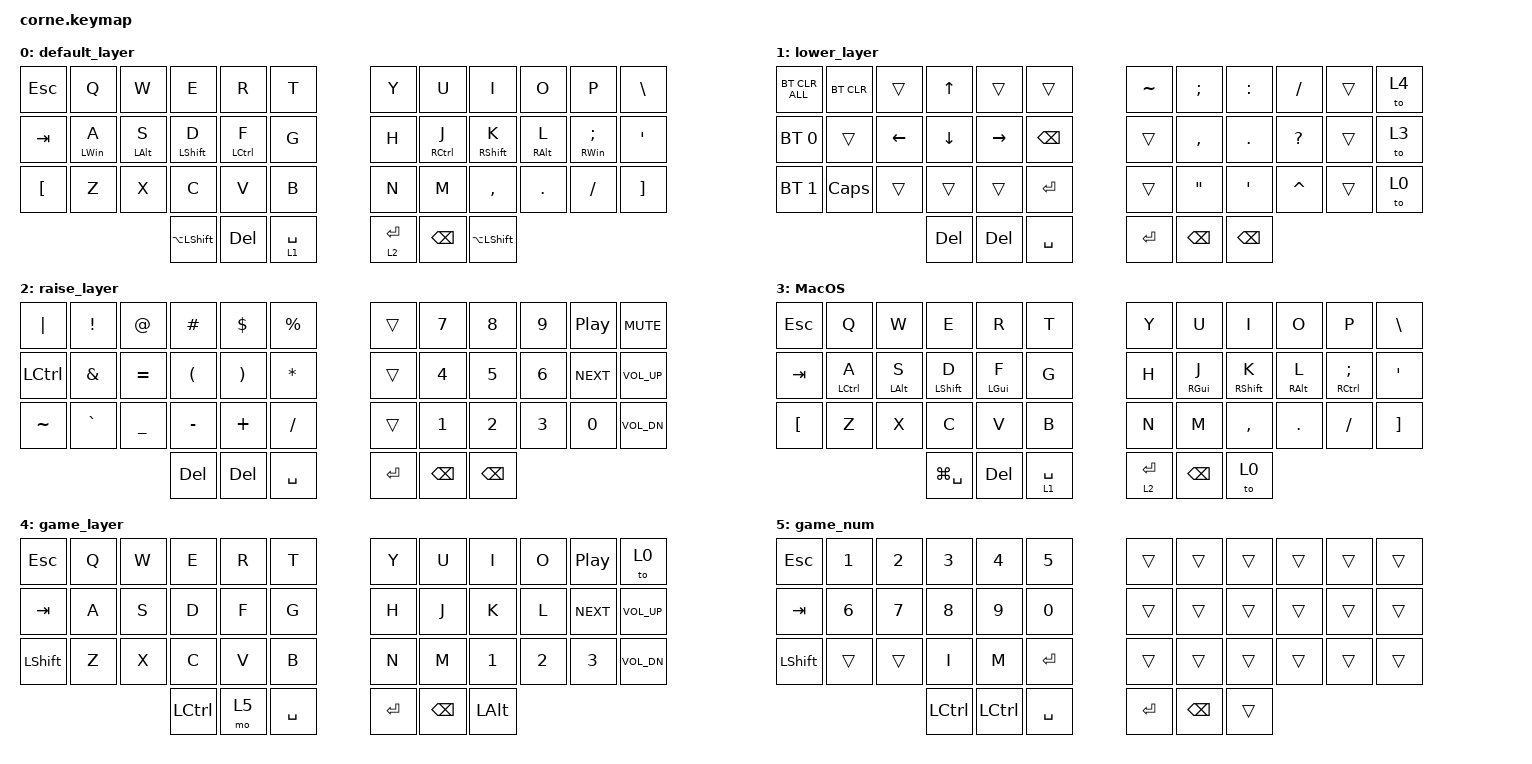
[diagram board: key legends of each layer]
/*
 * Copyright (c) 2020 The ZMK Contributors
 *
 * SPDX-License-Identifier: MIT
 */

#include <behaviors.dtsi>
#include <dt-bindings/zmk/bt.h>
#include <dt-bindings/zmk/keys.h>

/ {
    combos {
        compatible = "zmk,combos";

        combo_esc {
            timeout-ms = <50>;
            key-positions = <0 1>;
            bindings = <&kp ESC>;
        };
    };

    behaviors {
        ss_hs_modmorph: ss_hs_modmorph {
            compatible = "zmk,behavior-mod-morph";
            label = "SS_HS_MODMORPH";
            bindings = <&kp M>, <&kp RIGHT_BRACKET>;

            #binding-cells = <0>;
            mods = <(MOD_LSFT|MOD_RSFT)>;
        };

        kh_hs_tapdance: kh_hs_tapdance {
            compatible = "zmk,behavior-tap-dance";
            label = "KH_HS_TAPDANCE";
            #binding-cells = <0>;
            tapping-term-ms = <200>;
            bindings = <&kp LEFT_BRACKET>, <&kp RIGHT_BRACKET>;
        };

        hrm: hrm {
            compatible = "zmk,behavior-hold-tap";
            #binding-cells = <2>;
            flavor = "tap-preferred";
            tapping-term-ms = <180>;
            quick-tap-ms = <180>;
            require-prior-idle-ms = <125>;
            bindings = <&kp>, <&kp>;
        };
    };

    macros {
        switch_language: switch_language {
            compatible = "zmk,behavior-macro";
            #binding-cells = <0>;
            bindings =
                <&kt LA(LEFT_SHIFT)>,
                <&macro_press>,
                <&kp LEFT_ALT>,
                <&macro_tap>,
                <&kp LEFT_SHIFT>,
                <&macro_press>;

            label = "SWITCH_LANGUAGE";
        };
    };

    keymap {
        compatible = "zmk,keymap";

        default_layer {
            // -----------------------------------------------------------------------------------------
            // |  TAB |  Q  |  W  |  E  |  R  |  T  |   |  Y  |  U   |  I  |  O  |  P  | BKSP |
            // | CTRL |  A  |  S  |  D  |  F  |  G  |   |  H  |  J   |  K  |  L  |  ;  |  '   |
            // | SHFT |  Z  |  X  |  C  |  V  |  B  |   |  N  |  M   |  ,  |  .  |  /  | ESC  |
            //                    | GUI | LWR | SPC |   | ENT | RSE  | ALT |

            bindings = <
&kp ESC           &kp Q            &kp W            &kp E               &kp R                &kp T          &kp Y        &kp U                 &kp I               &kp O             &kp P                &kp BACKSLASH
&kp TAB           &hrm LEFT_WIN A  &hrm LEFT_ALT S  &hrm LEFT_SHIFT D   &hrm LEFT_CONTROL F  &kp G          &kp H        &hrm RIGHT_CONTROL J  &hrm RIGHT_SHIFT K  &hrm RIGHT_ALT L  &hrm RIGHT_WIN SEMI  &kp SQT
&kp LEFT_BRACKET  &kp Z            &kp X            &kp C               &kp V                &kp B          &kp N        &kp M                 &kp COMMA           &kp DOT           &kp SLASH            &kp RIGHT_BRACKET
                                                    &kp LA(LEFT_SHIFT)  &kp DELETE           &lt 1 SPACE    &lt 2 ENTER  &kp BACKSPACE         &kp LA(LEFT_SHIFT)
            >;
        };

        lower_layer {
            // -----------------------------------------------------------------------------------------
            // |  TAB |  1  |  2  |  3  |  4  |  5  |   |  6  |  7  |  8  |  9  |  0  | BKSP |
            // | BTCLR| BT1 | BT2 | BT3 | BT4 | BT5 |   | LFT | DWN |  UP | RGT |     |      |
            // | SHFT |     |     |     |     |     |   |     |     |     |     |     |      |
            //                    | GUI |     | SPC |   | ENT |     | ALT |

            bindings = <
&bt BT_CLR_ALL  &bt BT_CLR    &trans          &kp UP_ARROW    &trans           &trans           &kp TILDE  &kp SEMICOLON      &kp COLON      &kp SLASH     &trans  &to 4
&bt BT_SEL 0    &trans        &kp LEFT_ARROW  &kp DOWN_ARROW  &kp RIGHT_ARROW  &kp BACKSPACE    &trans     &kp COMMA          &kp DOT        &kp QUESTION  &trans  &to 3
&bt BT_SEL 1    &kp CAPSLOCK  &trans          &trans          &trans           &kp ENTER        &trans     &kp DOUBLE_QUOTES  &kp SQT        &kp CARET     &trans  &to 0
                                              &kp DELETE      &kp DELETE       &kp SPACE        &kp ENTER  &kp BACKSPACE      &kp BACKSPACE
            >;
        };

        raise_layer {
            // -----------------------------------------------------------------------------------------
            // |  TAB |  !  |  @  |  #  |  $  |  %  |   |  ^  |  &  |  *  |  (  |  )  | BKSP |
            // | CTRL |     |     |     |     |     |   |  -  |  =  |  [  |  ]  |  \  |  `   |
            // | SHFT |     |     |     |     |     |   |  _  |  +  |  {  |  }  | "|" |  ~   |
            //                    | GUI |     | SPC |   | ENT |     | ALT |

            bindings = <
&kp PIPE   &kp EXCL   &kp AT     &kp HASH              &kp DLLR               &kp PRCNT    &trans   &kp NUMBER_7   &kp NUMBER_8   &kp NUMBER_9  &kp C_PLAY_PAUSE  &kp C_MUTE
&kp LCTRL  &kp AMPS   &kp EQUAL  &kp LEFT_PARENTHESIS  &kp RIGHT_PARENTHESIS  &kp STAR     &trans   &kp NUMBER_4   &kp NUMBER_5   &kp NUMBER_6  &kp C_NEXT        &kp C_VOL_UP
&kp TILDE  &kp GRAVE  &kp UNDER  &kp MINUS             &kp PLUS               &kp SLASH    &trans   &kp NUMBER_1   &kp NUMBER_2   &kp NUMBER_3  &kp NUMBER_0      &kp C_VOL_DN
                                 &kp DELETE            &kp DELETE             &kp SPACE    &kp RET  &kp BACKSPACE  &kp BACKSPACE
            >;
        };

        MacOS {
            bindings = <
&kp ESCAPE  &kp Q         &kp W            &kp E              &kp R            &kp T          &kp Y        &kp U             &kp I               &kp O             &kp P                 &kp BACKSLASH
&kp TAB     &hrm LCTRL A  &hrm LEFT_ALT S  &hrm LEFT_SHIFT D  &hrm LEFT_GUI F  &kp G          &kp H        &hrm RIGHT_GUI J  &hrm RIGHT_SHIFT K  &hrm RIGHT_ALT L  &hrm RCTRL SEMICOLON  &kp SQT
&kp LBKT    &kp Z         &kp X            &kp C              &kp V            &kp B          &kp N        &kp M             &kp COMMA           &kp DOT           &kp FSLH              &kp RBKT
                                           &kp LG(SPACE)      &kp DELETE       &lt 1 SPACE    &lt 2 ENTER  &kp BSPC          &to 0
            >;
        };

        game_layer {
            bindings = <
&kp ESC    &kp Q  &kp W  &kp E      &kp R  &kp T        &kp Y      &kp U     &kp I         &kp O   &kp C_PLAY_PAUSE  &to 0
&kp TAB    &kp A  &kp S  &kp D      &kp F  &kp G        &kp H      &kp J     &kp K         &kp L   &kp C_NEXT        &kp C_VOL_UP
&kp LSHFT  &kp Z  &kp X  &kp C      &kp V  &kp B        &kp N      &kp M     &kp N1        &kp N2  &kp N3            &kp C_VOL_DN
                         &kp LCTRL  &mo 5  &kp SPACE    &kp ENTER  &kp BSPC  &kp LEFT_ALT
            >;
        };

        game_num {
            bindings = <
&kp ESC    &kp N1  &kp N2  &kp N3     &kp N4     &kp N5       &trans     &trans    &trans  &trans  &trans  &trans
&kp TAB    &kp N6  &kp N7  &kp N8     &kp N9     &kp N0       &trans     &trans    &trans  &trans  &trans  &trans
&kp LSHFT  &trans  &trans  &kp I      &kp M      &kp ENTER    &trans     &trans    &trans  &trans  &trans  &trans
                           &kp LCTRL  &kp LCTRL  &kp SPACE    &kp ENTER  &kp BSPC  &trans
            >;
        };
    };
};
